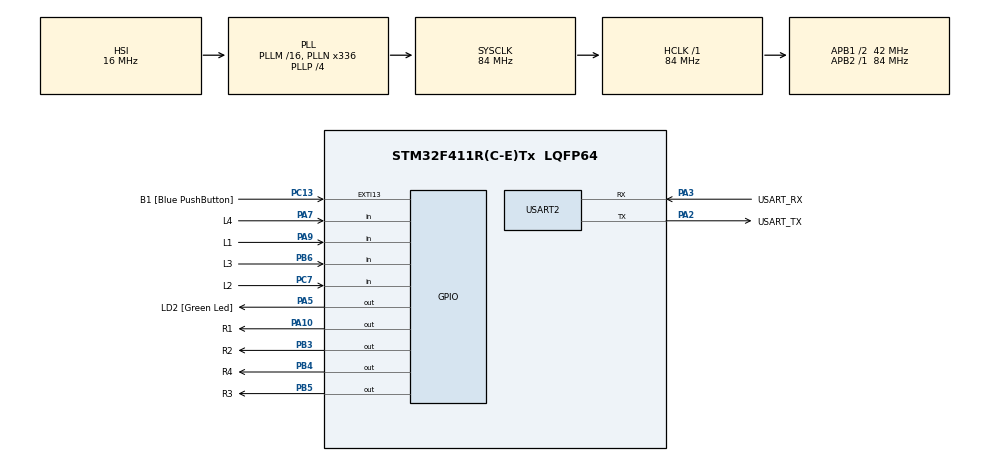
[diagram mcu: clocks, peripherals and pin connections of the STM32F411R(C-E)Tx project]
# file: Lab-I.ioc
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Mcu.Family=STM32F4
Mcu.Name=STM32F411R(C-E)Tx
Mcu.Package=LQFP64
NVIC.PriorityGroup=NVIC_PRIORITYGROUP_0
PA10.GPIO_Label=R1
PA10.GPIO_ModeDefaultOutputPP=GPIO_MODE_OUTPUT_OD
PA10.GPIO_PuPd=GPIO_NOPULL
PA10.PinState=GPIO_PIN_SET
PA10.Signal=GPIO_Output
PA13.GPIO_Label=TMS
PA13.Mode=Serial_Wire
PA13.Signal=SYS_JTMS-SWDIO
PA14.GPIO_Label=TCK
PA14.Mode=Serial_Wire
PA14.Signal=SYS_JTCK-SWCLK
PA2.GPIO_Label=USART_TX
PA2.Mode=Asynchronous
PA2.Signal=USART2_TX
PA3.GPIO_Label=USART_RX
PA3.Mode=Asynchronous
PA3.Signal=USART2_RX
PA5.GPIO_Label=LD2 [Green Led]
PA5.Signal=GPIO_Output
PA7.GPIO_Label=L4
PA7.GPIO_PuPd=GPIO_PULLUP
PA7.Signal=GPIO_Input
PA9.GPIO_Label=L1
PA9.GPIO_PuPd=GPIO_PULLUP
PA9.Signal=GPIO_Input
PB3.GPIO_Label=R2
PB3.GPIO_ModeDefaultOutputPP=GPIO_MODE_OUTPUT_OD
PB3.GPIO_PuPd=GPIO_NOPULL
PB3.PinState=GPIO_PIN_SET
PB3.Signal=GPIO_Output
PB4.GPIO_Label=R4
PB4.GPIO_ModeDefaultOutputPP=GPIO_MODE_OUTPUT_OD
PB4.GPIO_PuPd=GPIO_NOPULL
PB4.PinState=GPIO_PIN_SET
PB4.Signal=GPIO_Output
PB5.GPIO_Label=R3
PB5.GPIO_ModeDefaultOutputPP=GPIO_MODE_OUTPUT_OD
PB5.GPIO_PuPd=GPIO_NOPULL
PB5.PinState=GPIO_PIN_SET
PB5.Signal=GPIO_Output
PB6.GPIO_Label=L3
PB6.GPIO_PuPd=GPIO_PULLUP
PB6.Signal=GPIO_Input
PC13-ANTI_TAMP.GPIO_Label=B1 [Blue PushButton]
PC13-ANTI_TAMP.GPIO_ModeDefaultEXTI=GPIO_MODE_IT_FALLING
PC13-ANTI_TAMP.Signal=GPXTI13
PC14-OSC32_IN.Mode=LSE-External-Oscillator
PC14-OSC32_IN.Signal=RCC_OSC32_IN
PC15-OSC32_OUT.Mode=LSE-External-Oscillator
PC15-OSC32_OUT.Signal=RCC_OSC32_OUT
PC7.GPIO_Label=L2
PC7.GPIO_PuPd=GPIO_PULLUP
PC7.Signal=GPIO_Input
PH0\ -\ OSC_IN.Mode=HSE-External-Clock-Source
PH0\ -\ OSC_IN.Signal=RCC_OSC_IN
PH1\ -\ OSC_OUT.Mode=HSE-External-Clock-Source
PH1\ -\ OSC_OUT.Signal=RCC_OSC_OUT
ProjectManager.HeapSize=0x200
ProjectManager.StackSize=0x400
ProjectManager.TargetToolchain=STM32CubeIDE
RCC.48MHZClocksFreq_Value=84000000
RCC.AHBFreq_Value=84000000
RCC.APB1CLKDivider=RCC_HCLK_DIV2
RCC.APB1Freq_Value=42000000
RCC.APB1TimFreq_Value=84000000
RCC.APB2Freq_Value=84000000
RCC.APB2TimFreq_Value=84000000
RCC.CortexFreq_Value=84000000
RCC.FLatency-AdvancedSettings=FLASH_LATENCY_2
RCC.HCLKFreq_Value=84000000
RCC.HSE_VALUE=8000000
RCC.HSI_VALUE=16000000
RCC.PLLN=336
RCC.PLLP=RCC_PLLP_DIV4
RCC.SYSCLKFreq_VALUE=84000000
RCC.SYSCLKSource=RCC_SYSCLKSOURCE_PLLCLK
RCC.VCOOutputFreq_Value=336000000
USART2.VirtualMode=VM_ASYNC
board=NUCLEO-F411RE

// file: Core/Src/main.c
/* USER CODE BEGIN Header */
/**
  ******************************************************************************
  * @file           : main.c
  * @brief          : Main program body
  ******************************************************************************
  * @attention
  *
  * Copyright (c) 2023 STMicroelectronics.
  * All rights reserved.
  *
  * This software is licensed under terms that can be found in the LICENSE file
  * in the root directory of this software component.
  * If no LICENSE file comes with this software, it is provided AS-IS.
  *
  ******************************************************************************
  */
/* USER CODE END Header */
#include "main.h"

UART_HandleTypeDef huart2;

/* USER CODE BEGIN PV */

//create Structure of PortPin ,Typedef it to type name PortPin
typedef struct _PortPin
{
	GPIO_TypeDef* PORT;
	uint16_t PIN;
} PortPin;

//declare PortPin R,L
PortPin R[4] =
{
		{GPIOA,GPIO_PIN_10},
		{GPIOB,GPIO_PIN_3},
		{GPIOB,GPIO_PIN_5},
		{GPIOB,GPIO_PIN_4}
};

PortPin L[4] =
{
		{GPIOA,GPIO_PIN_9},
		{GPIOC,GPIO_PIN_7},
		{GPIOB,GPIO_PIN_6},
		{GPIOA,GPIO_PIN_7}
};

//For Button Contenter

uint16_t ButtonMatrix=0;
uint16_t L_ButtonMatrix=0;
uint16_t correct_key[11] = {6,4,3,4,0,5,0,0,0,7,3};
uint16_t current_key;
uint16_t key[11];
uint16_t j;
uint16_t count = 0;

/* USER CODE END PV */

void SystemClock_Config(void);
static void MX_GPIO_Init(void);
static void MX_USART2_UART_Init(void);
/* USER CODE BEGIN PFP */
void ReadMatrixButton_1Row();
/* USER CODE END PFP */

int main(void)
{

  /* MCU Configuration--------------------------------------------------------*/

  /* Reset of all peripherals, Initializes the Flash interface and the Systick. */
  HAL_Init();

  /* Configure the system clock */
  SystemClock_Config();

  /* Initialize all configured peripherals */
  MX_GPIO_Init();
  MX_USART2_UART_Init();

  /* Infinite loop */
  while (1)
  {

    /* USER CODE BEGIN 3 */
	  //Call function every 10 ms = 100Hz
	  static uint32_t timestamp=0;
	  if(HAL_GetTick()>=timestamp)
	  {
		  timestamp =HAL_GetTick() + 10;
		  ReadMatrixButton_1Row();

	  }
  }
  /* USER CODE END 3 */
}

void SystemClock_Config(void)
{
  RCC_OscInitTypeDef RCC_OscInitStruct = {0};
  RCC_ClkInitTypeDef RCC_ClkInitStruct = {0};

  /** Configure the main internal regulator output voltage
  */
  __HAL_RCC_PWR_CLK_ENABLE();
  __HAL_PWR_VOLTAGESCALING_CONFIG(PWR_REGULATOR_VOLTAGE_SCALE1);

  /** Initializes the RCC Oscillators according to the specified parameters
  * in the RCC_OscInitTypeDef structure.
  */
  RCC_OscInitStruct.OscillatorType = RCC_OSCILLATORTYPE_HSI;
  RCC_OscInitStruct.HSIState = RCC_HSI_ON;
  RCC_OscInitStruct.HSICalibrationValue = RCC_HSICALIBRATION_DEFAULT;
  RCC_OscInitStruct.PLL.PLLState = RCC_PLL_ON;
  RCC_OscInitStruct.PLL.PLLSource = RCC_PLLSOURCE_HSI;
  RCC_OscInitStruct.PLL.PLLM = 16;
  RCC_OscInitStruct.PLL.PLLN = 336;
  RCC_OscInitStruct.PLL.PLLP = RCC_PLLP_DIV4;
  RCC_OscInitStruct.PLL.PLLQ = 4;
  if (HAL_RCC_OscConfig(&RCC_OscInitStruct) != HAL_OK)
  {
    Error_Handler();
  }

  /** Initializes the CPU, AHB and APB buses clocks
  */
  RCC_ClkInitStruct.ClockType = RCC_CLOCKTYPE_HCLK|RCC_CLOCKTYPE_SYSCLK
                              |RCC_CLOCKTYPE_PCLK1|RCC_CLOCKTYPE_PCLK2;
  RCC_ClkInitStruct.SYSCLKSource = RCC_SYSCLKSOURCE_PLLCLK;
  RCC_ClkInitStruct.AHBCLKDivider = RCC_SYSCLK_DIV1;
  RCC_ClkInitStruct.APB1CLKDivider = RCC_HCLK_DIV2;
  RCC_ClkInitStruct.APB2CLKDivider = RCC_HCLK_DIV1;

  if (HAL_RCC_ClockConfig(&RCC_ClkInitStruct, FLASH_LATENCY_2) != HAL_OK)
  {
    Error_Handler();
  }
}

static void MX_USART2_UART_Init(void)
{

  huart2.Instance = USART2;
  huart2.Init.BaudRate = 115200;
  huart2.Init.WordLength = UART_WORDLENGTH_8B;
  huart2.Init.StopBits = UART_STOPBITS_1;
  huart2.Init.Parity = UART_PARITY_NONE;
  huart2.Init.Mode = UART_MODE_TX_RX;
  huart2.Init.HwFlowCtl = UART_HWCONTROL_NONE;
  huart2.Init.OverSampling = UART_OVERSAMPLING_16;
  if (HAL_UART_Init(&huart2) != HAL_OK)
  {
    Error_Handler();
  }

}

static void MX_GPIO_Init(void)
{
  GPIO_InitTypeDef GPIO_InitStruct = {0};

  /* GPIO Ports Clock Enable */
  __HAL_RCC_GPIOC_CLK_ENABLE();
  __HAL_RCC_GPIOH_CLK_ENABLE();
  __HAL_RCC_GPIOA_CLK_ENABLE();
  __HAL_RCC_GPIOB_CLK_ENABLE();

  /*Configure GPIO pin Output Level */
  HAL_GPIO_WritePin(LD2_GPIO_Port, LD2_Pin, GPIO_PIN_RESET);

  /*Configure GPIO pin Output Level */
  HAL_GPIO_WritePin(R1_GPIO_Port, R1_Pin, GPIO_PIN_SET);

  /*Configure GPIO pin Output Level */
  HAL_GPIO_WritePin(GPIOB, R2_Pin|R4_Pin|R3_Pin, GPIO_PIN_SET);

  /*Configure GPIO pin : B1_Pin */
  GPIO_InitStruct.Pin = B1_Pin;
  GPIO_InitStruct.Mode = GPIO_MODE_IT_FALLING;
  GPIO_InitStruct.Pull = GPIO_NOPULL;
  HAL_GPIO_Init(B1_GPIO_Port, &GPIO_InitStruct);

  /*Configure GPIO pin : LD2_Pin */
  GPIO_InitStruct.Pin = LD2_Pin;
  GPIO_InitStruct.Mode = GPIO_MODE_OUTPUT_PP;
  GPIO_InitStruct.Pull = GPIO_NOPULL;
  GPIO_InitStruct.Speed = GPIO_SPEED_FREQ_LOW;
  HAL_GPIO_Init(LD2_GPIO_Port, &GPIO_InitStruct);

  /*Configure GPIO pins : L4_Pin L1_Pin */
  GPIO_InitStruct.Pin = L4_Pin|L1_Pin;
  GPIO_InitStruct.Mode = GPIO_MODE_INPUT;
  GPIO_InitStruct.Pull = GPIO_PULLUP;
  HAL_GPIO_Init(GPIOA, &GPIO_InitStruct);

  /*Configure GPIO pin : L2_Pin */
  GPIO_InitStruct.Pin = L2_Pin;
  GPIO_InitStruct.Mode = GPIO_MODE_INPUT;
  GPIO_InitStruct.Pull = GPIO_PULLUP;
  HAL_GPIO_Init(L2_GPIO_Port, &GPIO_InitStruct);

  /*Configure GPIO pin : R1_Pin */
  GPIO_InitStruct.Pin = R1_Pin;
  GPIO_InitStruct.Mode = GPIO_MODE_OUTPUT_OD;
  GPIO_InitStruct.Pull = GPIO_NOPULL;
  GPIO_InitStruct.Speed = GPIO_SPEED_FREQ_LOW;
  HAL_GPIO_Init(R1_GPIO_Port, &GPIO_InitStruct);

  /*Configure GPIO pins : R2_Pin R4_Pin R3_Pin */
  GPIO_InitStruct.Pin = R2_Pin|R4_Pin|R3_Pin;
  GPIO_InitStruct.Mode = GPIO_MODE_OUTPUT_OD;
  GPIO_InitStruct.Pull = GPIO_NOPULL;
  GPIO_InitStruct.Speed = GPIO_SPEED_FREQ_LOW;
  HAL_GPIO_Init(GPIOB, &GPIO_InitStruct);

  /*Configure GPIO pin : L3_Pin */
  GPIO_InitStruct.Pin = L3_Pin;
  GPIO_InitStruct.Mode = GPIO_MODE_INPUT;
  GPIO_InitStruct.Pull = GPIO_PULLUP;
  HAL_GPIO_Init(L3_GPIO_Port, &GPIO_InitStruct);

}

/* USER CODE BEGIN 4 */
void ReadMatrixButton_1Row()
{
	//
	static uint8_t X = 0;

	//READ L1-L4
	register int i;
	for(i=0;i<4;i++)
	{
		if(HAL_GPIO_ReadPin(L[i].PORT, L[i].PIN))
		{
			ButtonMatrix &= ~(1<<(X*4+i));

		}
		else
		{
			ButtonMatrix |= 1<<(X*4+i);
		}

	}
	//SET RX
	HAL_GPIO_WritePin(R[X].PORT, R[X].PIN, 1);
	//RESET RX+1%4
	HAL_GPIO_WritePin(R[(X+1)%4].PORT, R[(X+1)%4].PIN, 0);
	X++;
	X%=4;

	if(ButtonMatrix != 0 && L_ButtonMatrix == 0)
	{
		if(ButtonMatrix == 0b1000000000000)
		{
			current_key = 0;
			count = 0;
			j = 0;
			key[0] = 0;
			key[1] = 0;
			key[2] = 0;
			key[3] = 0;
			key[4] = 0;
			key[5] = 0;
			key[6] = 0;
			key[7] = 0;
			key[8] = 0;
			key[9] = 0;
			key[10] = 0;
		}
		if(count == 11)
		{
			if(ButtonMatrix == 0b1000000000000000)
			{
				for(j=0;j<11;j++)
				{
					if(key[j] == correct_key[j])
					{
						continue;
					}
					else
					{
						break;
					}
				}
			}
		}
		else if(ButtonMatrix == 0b1)
		{
			current_key = 7;
			count++;
			key[0] = key[1];key[1] = key[2];key[2] = key[3];key[3] = key[4];key[4] = key[5];key[5] = key[6];key[6] = key[7];key[7] = key[8];key[8] = key[9];key[9] = key[10];key[10] = current_key;
		}
		else if(ButtonMatrix == 0b10)
		{
			current_key = 4;
			count++;
			key[0] = key[1];key[1] = key[2];key[2] = key[3];key[3] = key[4];key[4] = key[5];key[5] = key[6];key[6] = key[7];key[7] = key[8];key[8] = key[9];key[9] = key[10];key[10] = current_key;
		}
		else if(ButtonMatrix == 0b100)
		{
			current_key = 1;
			count++;
			key[0] = key[1];key[1] = key[2];key[2] = key[3];key[3] = key[4];key[4] = key[5];key[5] = key[6];key[6] = key[7];key[7] = key[8];key[8] = key[9];key[9] = key[10];key[10] = current_key;
		}
		else if(ButtonMatrix == 0b1000)
		{
			current_key = 0;
			count++;
			key[0] = key[1];key[1] = key[2];key[2] = key[3];key[3] = key[4];key[4] = key[5];key[5] = key[6];key[6] = key[7];key[7] = key[8];key[8] = key[9];key[9] = key[10];key[10] = current_key;
		}
		else if(ButtonMatrix == 0b10000)
		{
			current_key = 8;
			count++;
			key[0] = key[1];key[1] = key[2];key[2] = key[3];key[3] = key[4];key[4] = key[5];key[5] = key[6];key[6] = key[7];key[7] = key[8];key[8] = key[9];key[9] = key[10];key[10] = current_key;
		}
		else if(ButtonMatrix == 0b100000)
		{
			current_key = 5;
			count++;
			key[0] = key[1];key[1] = key[2];key[2] = key[3];key[3] = key[4];key[4] = key[5];key[5] = key[6];key[6] = key[7];key[7] = key[8];key[8] = key[9];key[9] = key[10];key[10] = current_key;
		}
		else if(ButtonMatrix == 0b1000000)
		{
			current_key = 2;
			count++;
			key[0] = key[1];key[1] = key[2];key[2] = key[3];key[3] = key[4];key[4] = key[5];key[5] = key[6];key[6] = key[7];key[7] = key[8];key[8] = key[9];key[9] = key[10];key[10] = current_key;
		}
		else if(ButtonMatrix == 0b100000000)
		{
			current_key = 9;
			count++;
			key[0] = key[1];key[1] = key[2];key[2] = key[3];key[3] = key[4];key[4] = key[5];key[5] = key[6];key[6] = key[7];key[7] = key[8];key[8] = key[9];key[9] = key[10];key[10] = current_key;
		}
		else if(ButtonMatrix == 0b1000000000)
		{
			current_key = 6;
			count++;
			key[0] = key[1];key[1] = key[2];key[2] = key[3];key[3] = key[4];key[4] = key[5];key[5] = key[6];key[6] = key[7];key[7] = key[8];key[8] = key[9];key[9] = key[10];key[10] = current_key;
		}
		else if(ButtonMatrix == 0b10000000000)
		{
			current_key = 3;
			count++;
			key[0] = key[1];key[1] = key[2];key[2] = key[3];key[3] = key[4];key[4] = key[5];key[5] = key[6];key[6] = key[7];key[7] = key[8];key[8] = key[9];key[9] = key[10];key[10] = current_key;
		}

		if(j == 11)
		{
			HAL_GPIO_WritePin (GPIOA, GPIO_PIN_5, 1);
		}
		else
		{
			HAL_GPIO_WritePin (GPIOA, GPIO_PIN_5, 0);
		}
	}

	L_ButtonMatrix = ButtonMatrix;
}
/* USER CODE END 4 */

void Error_Handler(void)
{
  __disable_irq();
  while (1)
  {
  }
}
